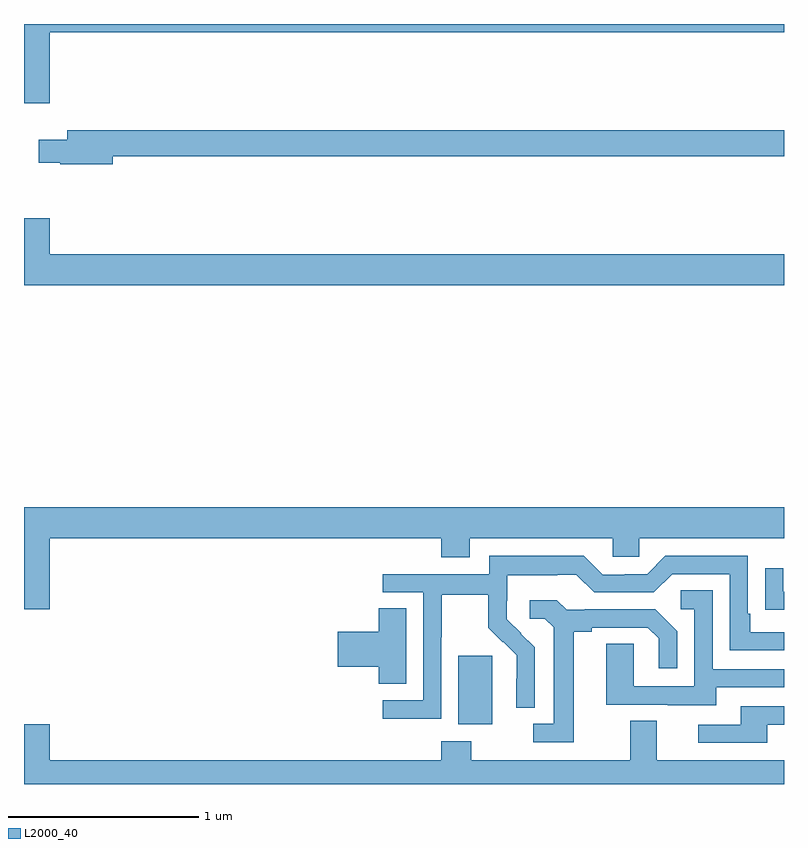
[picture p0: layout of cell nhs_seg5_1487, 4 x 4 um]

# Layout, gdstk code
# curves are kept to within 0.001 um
import gdstk
lib = gdstk.Library(unit=1e-6, precision=1e-09)
def R(c, l, rs):  # rectangles x0, y0, x1, y1
    for r in rs: c.add(gdstk.rectangle(r[:2], r[2:], *l))
def P(c, l, *ps):  # polygons
    for p in ps: c.add(gdstk.Polygon(p, *l))
L2000_40 = (2000, 40)

nhs_seg5_1487 = lib.new_cell('nhs_seg5_1487')
R(nhs_seg5_1487, L2000_40, [(203.285,857.114,203.464,857.475)])
P(nhs_seg5_1487, L2000_40, [(201.136,860.756),(205,860.756),(205,860.799),(201,860.799),(201,860.382),(201.136,860.382)],
  [(201.466,860.104),(205,860.104),(205,860.24),(201.227,860.24),(201.227,860.191),(201.078,860.191),(201.078,860.069),(201.19,860.069),(201.19,860.062),(201.466,860.062)],
  [(205,859.588),(201.136,859.588),(201.136,859.777),(201,859.777),(201,859.424),(205,859.424)],
  [(201.136,858.092),(203.195,858.092),(203.195,857.993),(203.347,857.993),(203.347,858.092),(204.099,858.092),(204.099,857.994),(204.237,857.994),(204.237,858.092),(205,858.092),(205,858.256),(201,858.256),(201,857.718),(201.136,857.718)],
  [(203.196,857.572),(203.199,857.572),(203.199,857.796),(203.443,857.796),(203.443,857.621),(203.52,857.544),(203.523,857.547),(203.594,857.477),(203.594,857.354),(203.592,857.354),(203.592,857.2),(203.688,857.2),(203.688,857.518),(203.542,857.666),(203.542,857.763),(203.544,857.763),(203.544,857.897),(203.807,857.897),(203.807,857.901),(203.907,857.901),(204,857.808),(204.315,857.808),(204.411,857.904),(204.714,857.904),(204.714,857.502),(205,857.502),(205,857.598),(204.823,857.598),(204.823,857.695),(204.81,857.695),(204.81,858),(204.375,858),(204.279,857.904),(204.161,857.904),(204.161,857.901),(204.045,857.901),(203.945,858.001),(203.448,858.001),(203.448,857.904),(202.887,857.904),(202.887,857.808),(203.1,857.808),(203.1,857.241),(202.887,857.241),(202.887,857.143),(203.196,857.143)],
  [(205,857.811),(204.997,857.811),(204.997,857.935),(204.901,857.935),(204.901,857.716),(205,857.716)],
  [(204.643,857.307),(205,857.307),(205,857.403),(204.624,857.403),(204.624,857.819),(204.456,857.819),(204.456,857.718),(204.528,857.718),(204.528,857.313),(204.21,857.313),(204.21,857.537),(204.065,857.537),(204.065,857.217),(204.389,857.217),(204.389,857.213),(204.643,857.213)],
  [(203.893,857.6),(203.989,857.6),(203.989,857.622),(204.284,857.622),(204.341,857.565),(204.341,857.409),(204.438,857.409),(204.438,857.602),(204.322,857.718),(203.95,857.718),(203.95,857.715),(203.856,857.715),(203.804,857.767),(203.661,857.767),(203.661,857.67),(203.742,857.67),(203.789,857.623),(203.789,857.115),(203.679,857.115),(203.679,857.019),(203.893,857.019)],
  [(203.011,857.723),(202.868,857.723),(202.868,857.6),(202.65,857.6),(202.65,857.417),(202.868,857.417),(202.868,857.326),(203.011,857.326)],
  [(204.913,857.112),(205,857.112),(205,857.208),(204.773,857.208),(204.773,857.112),(204.549,857.112),(204.549,857.016),(204.913,857.016)],
  [(204.191,857.132),(204.191,856.924),(203.355,856.924),(203.355,857.023),(203.195,857.023),(203.195,856.924),(201.136,856.924),(201.136,857.113),(201,857.113),(201,856.799),(205,856.799),(205,856.924),(204.331,856.924),(204.331,857.132)])

lib.write_gds('nhs_seg5_1487.gds')
